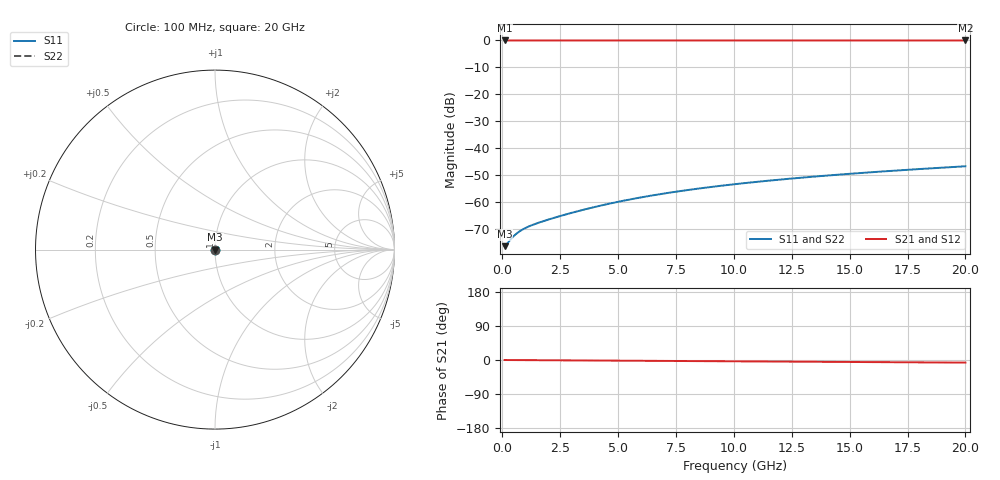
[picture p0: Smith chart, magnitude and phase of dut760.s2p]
! Touchstone file exported from HFSS 2026.1.0
!  File:  C:/ffzhzh/LocalFiles/Ansys_Project_Files/temp_train_TSV_760_1783183230_43440.aedt
!  Generated:  12:42:03 AM Jul  5, 2026
!  Design:  TSV
!  Project:  temp_train_TSV_760_1783183230_43440
! Variables:
!  h_bsmrdl = 2um
!  h_ox = 20um
!  h_rdl = 5um
!  h_sub = 70.29um
!  h_tmrdl = 5um
!  h_tsv = 70.29um
!  h_via = 3um
!  l_bsmrdl = 300um
!  l_sub = 417.34um
!  l_tmrdl = 200um
!  m_sub = 200um
!  pitch = 33.77um
!  r_tsv = 8.67um
!  s_tmrdl = 10um
!  w_bsmrdl = 18um
!  w_sub = 500um
!  w_tmrdl = 12um
!  x_tsv_center1 = 206um
!  x_tsv_center2 = 524um
!  x_tsv_center3 = 736um
!  x_tsv_center4 = 1054um
!  x_tsv_center5 = 1266um
!  x_tsv_center6 = 1584um
# GHz S MA R 50.000000
! Terminal data exported
! Port[1] = TSV1_1_T1
! Port[2] = TSV1_1_T2
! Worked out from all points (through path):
!   200 points, 100 MHz to 20 GHz, reference 50 ohm
!   highest |S21| = 0.00 dB at 100 MHz (marker M1); lowest = 0.0 dB at 20 GHz (marker M2)
!   lowest |S11| = -76.6 dB at 100 MHz (marker M3), VSWR 1.00, Z = 50 + j0.00209 ohm
!   |S11| at or under -10 dB: start of sweep to end of sweep
!   |S22| runs from -76.6 to -46.8 dB; largest |S21 - S12| = 3.5e-15
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0.1  0.0001483 8.1  0.9999 -0.0  0.9999 -0.0  0.0001483 8.1
! Gamma 0 0 0 0
! Port Impedance 50 0 50 0
0.2  0.0001635 13.8  0.9998 -0.1  0.9998 -0.1  0.0001635 13.8
0.4  0.0002071 16.7  0.9998 -0.1  0.9998 -0.1  0.0002071 16.7
0.5  0.0002298 15.4  0.9998 -0.2  0.9998 -0.2  0.0002298 15.4
0.6  0.0002514 13.2  0.9998 -0.2  0.9998 -0.2  0.0002514 13.2
0.8  0.00029 7.6  0.9997 -0.3  0.9997 -0.3  0.00029 7.6
1.1  0.0003387 -1.1  0.9997 -0.4  0.9997 -0.4  0.0003387 -1.1
1.5  0.0003956 -11.3  0.9996 -0.5  0.9996 -0.5  0.0003956 -11.3
2  0.0004654 -21.3  0.9996 -0.7  0.9996 -0.7  0.0004654 -21.3
2.7  0.0005709 -31.5  0.9995 -1.0  0.9995 -1.0  0.000571 -31.5
3.5  0.0007058 -39.7  0.9994 -1.2  0.9994 -1.2  0.0007058 -39.7
4.3  0.0008542 -45.8  0.9994 -1.5  0.9994 -1.5  0.0008542 -45.8
5.1  0.001013 -50.5  0.9993 -1.8  0.9993 -1.8  0.001013 -50.5
5.9  0.00118 -54.4  0.9993 -2.1  0.9993 -2.1  0.00118 -54.3
6.8  0.001375 -57.9  0.9992 -2.4  0.9992 -2.4  0.001375 -57.9
8.4  0.001734 -62.9  0.9991 -2.9  0.9991 -2.9  0.001735 -62.9
10.1  0.002127 -67.0  0.999 -3.5  0.999 -3.5  0.002127 -67.0
11.7  0.002503 -70.1  0.999 -4.1  0.999 -4.1  0.002503 -70.1
13.4  0.002909 -72.8  0.9989 -4.6  0.9989 -4.6  0.002909 -72.8
15  0.003296 -74.9  0.9988 -5.2  0.9988 -5.2  0.003297 -74.9
16.7  0.003715 -76.8  0.9988 -5.8  0.9988 -5.8  0.003715 -76.8
20  0.004549 -79.8  0.9986 -6.9  0.9986 -6.9  0.004549 -79.8
